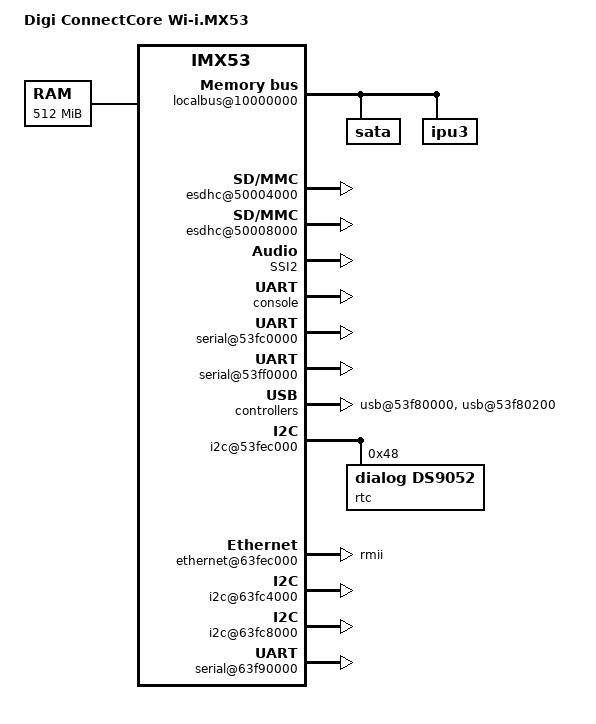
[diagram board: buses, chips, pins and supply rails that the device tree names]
/*
 * Copyright (c) 2012 The FreeBSD Foundation
 * Copyright (c) 2013 Rui Paulo
 * All rights reserved.
 *
 * This software was developed by Semihalf under sponsorship from
 * the FreeBSD Foundation.
 *
 * Redistribution and use in source and binary forms, with or without
 * modification, are permitted provided that the following conditions
 * are met:
 * 1. Redistributions of source code must retain the above copyright
 *    notice, this list of conditions and the following disclaimer.
 * 2. Redistributions in binary form must reproduce the above copyright
 *    notice, this list of conditions and the following disclaimer in the
 *    documentation and/or other materials provided with the distribution.
 *
 * THIS SOFTWARE IS PROVIDED BY THE AUTHOR AND CONTRIBUTORS ``AS IS'' AND
 * ANY EXPRESS OR IMPLIED WARRANTIES, INCLUDING, BUT NOT LIMITED TO, THE
 * IMPLIED WARRANTIES OF MERCHANTABILITY AND FITNESS FOR A PARTICULAR PURPOSE
 * ARE DISCLAIMED. IN NO EVENT SHALL THE AUTHOR OR CONTRIBUTORS BE LIABLE
 * FOR ANY DIRECT, INDIRECT, INCIDENTAL, SPECIAL, EXEMPLARY, OR CONSEQUENTIAL
 * DAMAGES (INCLUDING, BUT NOT LIMITED TO, PROCUREMENT OF SUBSTITUTE GOODS
 * OR SERVICES; LOSS OF USE, DATA, OR PROFITS; OR BUSINESS INTERRUPTION)
 * HOWEVER CAUSED AND ON ANY THEORY OF LIABILITY, WHETHER IN CONTRACT, STRICT
 * LIABILITY, OR TORT (INCLUDING NEGLIGENCE OR OTHERWISE) ARISING IN ANY WAY
 * OUT OF THE USE OF THIS SOFTWARE, EVEN IF ADVISED OF THE POSSIBILITY OF
 * SUCH DAMAGE.
 *
 * Digi ConnectCore Wi-i.MX53
 *
 * $FreeBSD$
 */

/dts-v1/;
/include/ "imx53x.dtsi"

/ {
	model = "Digi ConnectCore Wi-i.MX53";
	compatible = "digi,imx53-ccwm53", "fsl,imx53";

	memory {
		/* RAM 512M */
		reg = <0x70000000 0x10000000
		       0xB0000000 0x10000000>;
	};

	localbus@10000000 {
		sata@10000000 {
			status = "okay";
		};
		ipu3@1E000000 {
			status = "okay";
		};
	};

	soc@50000000 {
		aips@50000000 {
			spba@50000000 {
				esdhc@50004000 {
					clock-frequency = <216000000>;
					status = "okay";
				};
				esdhc@50008000 {
					clock-frequency = <216000000>;
					status = "okay";
				};
				SSI2: ssi@50014000 {
					status = "okay";
				};
			};
			timer@53fa0000 {
				status = "okay";
			};
			/* UART1, console */
			console: serial@53fbc000 {
				status = "okay";
				clock-frequency = <0>; /* won't load w/o this */
			};
			serial@53fc0000 {
				status = "okay";
				clock-frequency = <0>; /* won't load w/o this */
			};
			serial@53ff0000 {
				status = "okay";
				clock-frequency = <0>; /* won't load w/o this */
			};
			clock@53fd4000 {
				status = "okay";
			};
			gpio@53f84000 {
				status = "okay";
			};
			gpio@53f88000 {
				status = "okay";
			};
			gpio@53f8c000 {
				status = "okay";
			};
			gpio@53f90000 {
				status = "okay";
			};
			usb@53f80000 /* OTG */ {
				status = "okay";
			};
			usb@53f80200 /* Host 1 */ {
				status = "okay";
			};
			wdog@53f98000 {
				status = "okay";
			};
			i2c@53fec000 {
				status = "okay";
				rtc@68 {
					compatible = "dialog,ds9052";
					reg = <0x48>;
					interrupts = <0x1 0x1 0 0>;
				};
			};
		};
		aips@60000000 {
			ethernet@63fec000 {
				status = "okay";
				phy-mode = "rmii";
			};
			i2c@63fc4000 {
				status = "okay";
			};
			i2c@63fc8000 {
				status = "okay";
			};
			audmux@63fd4000 {
				status = "okay";
			};
			ide@63fe0000 {
				status = "okay";
			};
			serial@63f90000 {
				status = "okay";
			};
		};
	};

	aliases {
		SSI2 = &SSI2;
	};

	chosen {
		bootargs = "-v";
		stdin  = &console;
		stdout = &console;
	};
};
